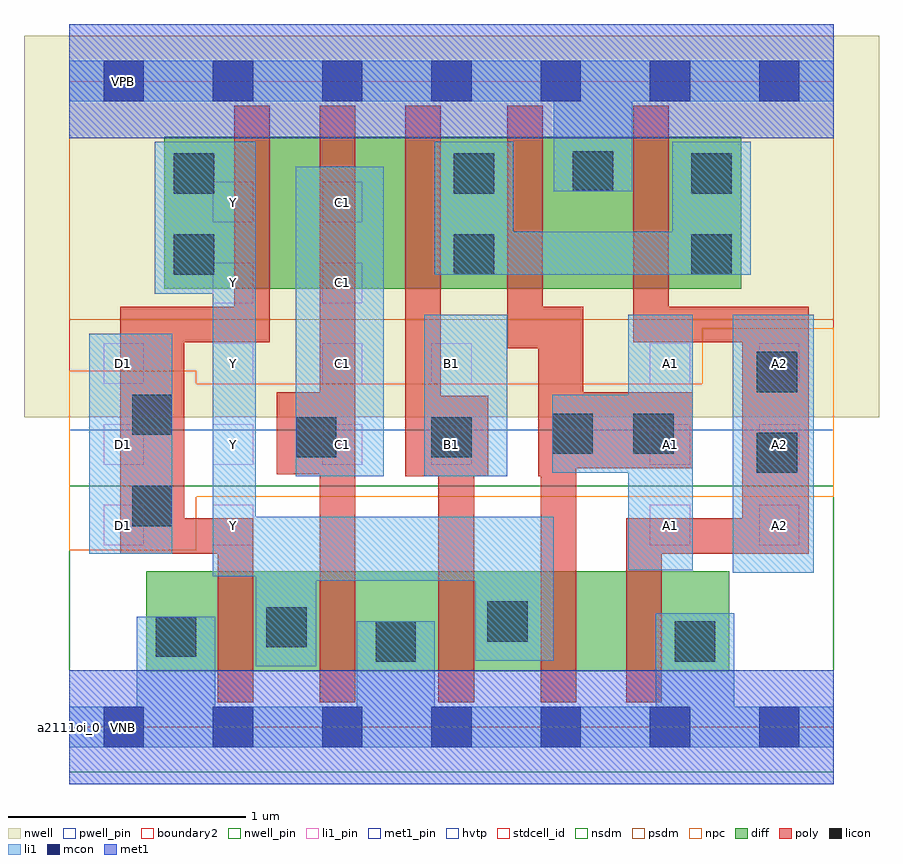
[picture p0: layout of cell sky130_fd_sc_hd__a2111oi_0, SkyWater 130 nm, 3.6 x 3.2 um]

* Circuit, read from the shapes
.subckt sky130_fd_sc_hd__a2111oi_0 A1 A2 B1 C1 D1 VGND VNB VPB VPWR Y
XM1 Y D1 VGND VNB sky130_fd_pr__nfet_01v8 w=0.42 l=0.15
XM2 VGND C1 Y VNB sky130_fd_pr__nfet_01v8 w=0.42 l=0.15
XM3 Y B1 VGND VNB sky130_fd_pr__nfet_01v8 w=0.42 l=0.15
XM4 n1 A1 Y VNB sky130_fd_pr__nfet_01v8 w=0.42 l=0.15
XM5 VGND A2 n1 VNB sky130_fd_pr__nfet_01v8 w=0.42 l=0.15
XM6 n2 D1 Y VPB sky130_fd_pr__pfet_01v8_hvt w=0.64 l=0.15
XM7 n3 C1 n2 VPB sky130_fd_pr__pfet_01v8_hvt w=0.64 l=0.15
XM8 n4 B1 n3 VPB sky130_fd_pr__pfet_01v8_hvt w=0.64 l=0.15
XM9 VPWR A1 n4 VPB sky130_fd_pr__pfet_01v8_hvt w=0.64 l=0.15
XM10 n4 A2 VPWR VPB sky130_fd_pr__pfet_01v8_hvt w=0.64 l=0.15
.ends

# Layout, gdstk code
import gdstk
lib = gdstk.Library(unit=1e-6, precision=1e-09)
def R(c, l, rs):  # rectangles x0, y0, x1, y1
    for r in rs: c.add(gdstk.rectangle(r[:2], r[2:], *l))
def A(c, l, x, y, w, h, nx, ny, dx, dy):  # array of equal rectangles
    R(c, l, [(x+i*dx, y+j*dy, x+i*dx+w, y+j*dy+h) for i in range(nx) for j in range(ny)])
def P(c, l, *ps):  # polygons
    for p in ps: c.add(gdstk.Polygon(p, *l))
nwell_pin = (64, 16)
nwell = (64, 20)
diff = (65, 20)
poly = (66, 20)
licon = (66, 44)
li1_pin = (67, 16)
li1 = (67, 20)
mcon = (67, 44)
met1_pin = (68, 16)
met1 = (68, 20)
hvtp = (78, 44)
stdcell_id = (81, 4)
nsdm = (93, 44)
psdm = (94, 20)
npc = (95, 20)
pwell_pin = (122, 16)
boundary2 = (236, 0)

sky130_fd_sc_hd__a2111oi = lib.new_cell('sky130_fd_sc_hd__a2111oi_0')
R(sky130_fd_sc_hd__a2111oi, nwell_pin, [(0.145,2.635,0.315,2.805)])
R(sky130_fd_sc_hd__a2111oi, nwell, [(-0.19,1.305,3.41,2.91)])
R(sky130_fd_sc_hd__a2111oi, diff, [(0.325,0.235,2.78,0.655), (0.4,1.845,2.83,2.485)])
P(sky130_fd_sc_hd__a2111oi, poly, [(0.845,2.615),(0.695,2.615),(0.695,1.77),(0.215,1.77),(0.215,0.73),(0.625,0.73),(0.625,0.105),(0.775,0.105),(0.775,0.88),(0.485,0.88),(0.485,1.62),(0.845,1.62)],
  [(1.205,2.615),(1.055,2.615),(1.055,1.41),(0.875,1.41),(0.875,1.065),(1.055,1.065),(1.055,0.105),(1.205,0.105)],
  [(1.765,1.395),(1.565,1.395),(1.565,2.615),(1.415,2.615),(1.415,1.055),(1.555,1.055),(1.555,0.105),(1.705,0.105),(1.705,1.055),(1.765,1.055)],
  [(2.625,1.41),(2.165,1.41),(2.165,1.77),(1.995,1.77),(1.995,2.615),(1.845,2.615),(1.845,1.595),(1.975,1.595),(1.975,1.055),(1.985,1.055),(1.985,0.105),(2.135,0.105),(2.135,1.09),(2.625,1.09)],
  [(3.115,1.77),(2.525,1.77),(2.525,2.615),(2.375,2.615),(2.375,1.62),(2.835,1.62),(2.835,0.88),(2.345,0.88),(2.345,0.105),(2.495,0.105),(2.495,0.73),(3.115,0.73)])
R(sky130_fd_sc_hd__a2111oi, licon, [(1.29,0.275,1.46,0.445), (2.55,0.275,2.72,0.445), (0.365,0.295,0.535,0.465), (0.83,0.335,1,0.505), (1.76,0.36,1.93,0.53), (0.265,0.845,0.435,1.015), (2.895,1.07,3.065,1.24), (0.955,1.135,1.125,1.305), (1.525,1.135,1.695,1.305), (2.035,1.15,2.205,1.32), (2.375,1.15,2.545,1.32), (0.265,1.23,0.435,1.4), (2.895,1.41,3.065,1.58), (0.44,1.905,0.61,2.075), (1.62,1.905,1.79,2.075), (2.62,1.905,2.79,2.075), (0.44,2.245,0.61,2.415), (1.62,2.245,1.79,2.415), (2.62,2.245,2.79,2.415), (2.12,2.255,2.29,2.425)])
A(sky130_fd_sc_hd__a2111oi, li1_pin, 2.445, 0.765, 0.17, 0.17, 1, 3, 0, 0.34)
A(sky130_fd_sc_hd__a2111oi, li1_pin, 2.905, 0.765, 0.17, 0.17, 1, 3, 0, 0.34)
A(sky130_fd_sc_hd__a2111oi, li1_pin, 0.145, 1.105, 0.17, 0.17, 4, 2, 0.46, 0.34)
R(sky130_fd_sc_hd__a2111oi, li1_pin, [(0.145,0.765,0.315,0.935), (0.605,0.765,0.775,0.935), (0.605,1.785,0.775,1.955), (1.065,1.785,1.235,1.955), (0.605,2.125,0.775,2.295), (1.065,2.125,1.235,2.295)])
R(sky130_fd_sc_hd__a2111oi, li1, [(2.795,0.65,3.135,1.735), (0.085,0.73,0.435,1.655), (0.955,1.055,1.325,2.36), (1.495,1.055,1.845,1.735)])
P(sky130_fd_sc_hd__a2111oi, li1, [(3.22,2.805),(0,2.805),(0,2.635),(2.04,2.635),(2.04,2.255),(2.37,2.255),(2.37,2.635),(3.22,2.635)],
  [(3.22,0.085),(2.8,0.085),(2.8,0.48),(2.47,0.48),(2.47,0.085),(1.54,0.085),(1.54,0.445),(1.21,0.445),(1.21,0.085),(0.615,0.085),(0.615,0.465),(0.285,0.465),(0.285,0.085),(0,0.085),(0,-0.085),(3.22,-0.085)],
  [(2.04,0.885),(0.785,0.885),(0.785,2.465),(0.36,2.465),(0.36,1.825),(0.605,1.825),(0.605,0.635),(0.785,0.635),(0.785,0.255),(1.04,0.255),(1.04,0.615),(1.71,0.615),(1.71,0.28),(2.04,0.28)],
  [(2.035,1.07),(2.035,1.4),(2.355,1.4),(2.355,1.735),(2.625,1.735),(2.625,0.66),(2.355,0.66),(2.355,1.07)],
  [(2.87,2.465),(2.54,2.465),(2.54,2.085),(1.87,2.085),(1.87,2.465),(1.54,2.465),(1.54,1.905),(2.87,1.905)])
A(sky130_fd_sc_hd__a2111oi, mcon, 0.145, -0.085, 0.17, 0.17, 7, 2, 0.46, 2.72)
R(sky130_fd_sc_hd__a2111oi, met1_pin, [(0.145,-0.085,0.315,0.085), (0.145,2.635,0.315,2.805)])
R(sky130_fd_sc_hd__a2111oi, hvtp, [(0,1.25,3.22,2.72)])
R(sky130_fd_sc_hd__a2111oi, stdcell_id, [(0,0,3.22,2.72)])
R(sky130_fd_sc_hd__a2111oi, nsdm, [(0,-0.19,3.22,1.015)])
R(sky130_fd_sc_hd__a2111oi, psdm, [(0,1.715,3.22,2.91)])
P(sky130_fd_sc_hd__a2111oi, npc, [(3.22,1.68),(2.665,1.68),(2.665,1.445),(0.535,1.445),(0.535,1.5),(0,1.5),(0,0.745),(0.535,0.745),(0.535,0.97),(3.22,0.97)])
R(sky130_fd_sc_hd__a2111oi, pwell_pin, [(0.145,-0.085,0.315,0.085)])
R(sky130_fd_sc_hd__a2111oi, boundary2, [(0,0,3.22,2.72)])
sky130_fd_sc_hd__a2111oi.add(gdstk.FlexPath([(0,0),(3.22,0)], 0.48, ends="flush", simple_path=True, layer=68, datatype=20))  # met1
sky130_fd_sc_hd__a2111oi.add(gdstk.FlexPath([(0,2.72),(3.22,2.72)], 0.48, ends="flush", simple_path=True, layer=68, datatype=20))  # met1
sky130_fd_sc_hd__a2111oi.add(gdstk.Label('A2', (2.99,0.85), layer=67, texttype=5))
sky130_fd_sc_hd__a2111oi.add(gdstk.Label('A1', (2.53,1.19), layer=67, texttype=5))
sky130_fd_sc_hd__a2111oi.add(gdstk.Label('B1', (1.61,1.53), layer=67, texttype=5))
sky130_fd_sc_hd__a2111oi.add(gdstk.Label('C1', (1.15,1.19), layer=67, texttype=5))
sky130_fd_sc_hd__a2111oi.add(gdstk.Label('Y', (0.69,2.21), layer=67, texttype=5))
sky130_fd_sc_hd__a2111oi.add(gdstk.Label('D1', (0.23,1.53), layer=67, texttype=5))
sky130_fd_sc_hd__a2111oi.add(gdstk.Label('D1', (0.23,1.19), layer=67, texttype=5))
sky130_fd_sc_hd__a2111oi.add(gdstk.Label('D1', (0.23,0.85), layer=67, texttype=5))
sky130_fd_sc_hd__a2111oi.add(gdstk.Label('Y', (0.69,1.87), layer=67, texttype=5))
sky130_fd_sc_hd__a2111oi.add(gdstk.Label('Y', (0.69,1.53), layer=67, texttype=5))
sky130_fd_sc_hd__a2111oi.add(gdstk.Label('Y', (0.69,1.19), layer=67, texttype=5))
sky130_fd_sc_hd__a2111oi.add(gdstk.Label('Y', (0.69,0.85), layer=67, texttype=5))
sky130_fd_sc_hd__a2111oi.add(gdstk.Label('C1', (1.15,1.53), layer=67, texttype=5))
sky130_fd_sc_hd__a2111oi.add(gdstk.Label('C1', (1.15,1.87), layer=67, texttype=5))
sky130_fd_sc_hd__a2111oi.add(gdstk.Label('C1', (1.15,2.21), layer=67, texttype=5))
sky130_fd_sc_hd__a2111oi.add(gdstk.Label('B1', (1.61,1.19), layer=67, texttype=5))
sky130_fd_sc_hd__a2111oi.add(gdstk.Label('A2', (2.99,1.19), layer=67, texttype=5))
sky130_fd_sc_hd__a2111oi.add(gdstk.Label('A2', (2.99,1.53), layer=67, texttype=5))
sky130_fd_sc_hd__a2111oi.add(gdstk.Label('A1', (2.53,0.85), layer=67, texttype=5))
sky130_fd_sc_hd__a2111oi.add(gdstk.Label('A1', (2.53,1.53), layer=67, texttype=5))
sky130_fd_sc_hd__a2111oi.add(gdstk.Label('VNB', (0.23,0), layer=64, texttype=59))
sky130_fd_sc_hd__a2111oi.add(gdstk.Label('VPB', (0.23,2.72), layer=64, texttype=5))
sky130_fd_sc_hd__a2111oi.add(gdstk.Label('VPWR', (0.23,2.72), layer=68, texttype=5))
sky130_fd_sc_hd__a2111oi.add(gdstk.Label('VGND', (0.23,0), layer=68, texttype=5))
sky130_fd_sc_hd__a2111oi.add(gdstk.Label('a2111oi_0', (0,0), layer=83, texttype=44))

lib.write_gds('sky130_fd_sc_hd__a2111oi_0.gds')
